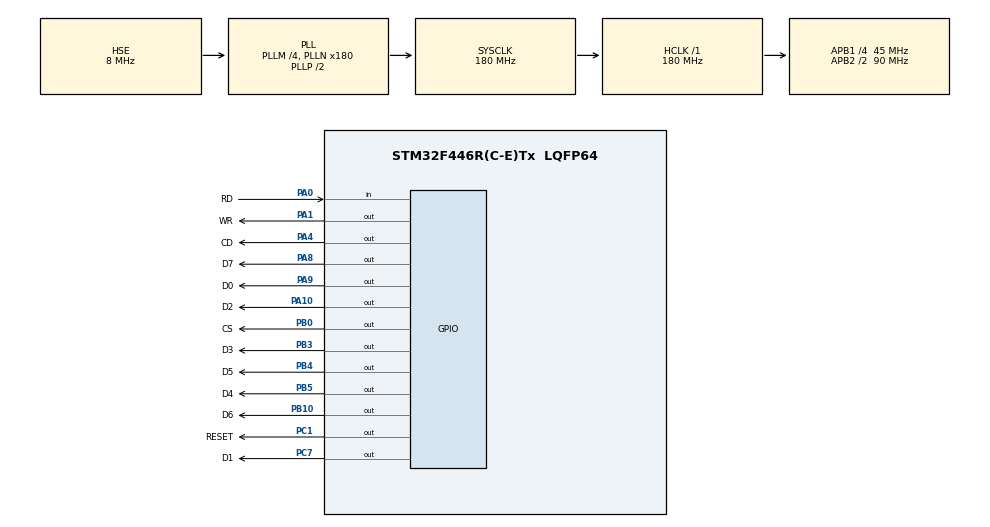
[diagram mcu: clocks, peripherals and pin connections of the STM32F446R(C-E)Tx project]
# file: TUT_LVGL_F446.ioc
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Mcu.Family=STM32F4
Mcu.Name=STM32F446R(C-E)Tx
Mcu.Package=LQFP64
NVIC.PriorityGroup=NVIC_PRIORITYGROUP_4
PA0-WKUP.GPIO_Label=RD
PA0-WKUP.Signal=GPIO_Input
PA1.GPIO_Label=WR
PA1.GPIO_Speed=GPIO_SPEED_FREQ_VERY_HIGH
PA1.Signal=GPIO_Output
PA10.GPIO_Label=D2
PA10.GPIO_Speed=GPIO_SPEED_FREQ_VERY_HIGH
PA10.Signal=GPIO_Output
PA4.GPIO_Label=CD
PA4.GPIO_Speed=GPIO_SPEED_FREQ_VERY_HIGH
PA4.Signal=GPIO_Output
PA8.GPIO_Label=D7
PA8.GPIO_Speed=GPIO_SPEED_FREQ_VERY_HIGH
PA8.Signal=GPIO_Output
PA9.GPIO_Label=D0
PA9.GPIO_Speed=GPIO_SPEED_FREQ_VERY_HIGH
PA9.Signal=GPIO_Output
PB0.GPIO_Label=CS
PB0.GPIO_Speed=GPIO_SPEED_FREQ_VERY_HIGH
PB0.Signal=GPIO_Output
PB10.GPIO_Label=D6
PB10.GPIO_Speed=GPIO_SPEED_FREQ_VERY_HIGH
PB10.Signal=GPIO_Output
PB3.GPIO_Label=D3
PB3.GPIO_Speed=GPIO_SPEED_FREQ_VERY_HIGH
PB3.Signal=GPIO_Output
PB4.GPIO_Label=D5
PB4.GPIO_Speed=GPIO_SPEED_FREQ_VERY_HIGH
PB4.Signal=GPIO_Output
PB5.GPIO_Label=D4
PB5.GPIO_Speed=GPIO_SPEED_FREQ_VERY_HIGH
PB5.Signal=GPIO_Output
PC1.GPIO_Label=RESET
PC1.GPIO_Speed=GPIO_SPEED_FREQ_VERY_HIGH
PC1.Signal=GPIO_Output
PC7.GPIO_Label=D1
PC7.GPIO_Speed=GPIO_SPEED_FREQ_VERY_HIGH
PC7.Signal=GPIO_Output
PH0-OSC_IN.Mode=HSE-External-Clock-Source
PH0-OSC_IN.Signal=RCC_OSC_IN
PH1-OSC_OUT.Mode=HSE-External-Clock-Source
PH1-OSC_OUT.Signal=RCC_OSC_OUT
ProjectManager.HeapSize=0x200
ProjectManager.StackSize=0x400
ProjectManager.TargetToolchain=STM32CubeIDE
RCC.AHBFreq_Value=180000000
RCC.APB1CLKDivider=RCC_HCLK_DIV4
RCC.APB1Freq_Value=45000000
RCC.APB1TimFreq_Value=90000000
RCC.APB2CLKDivider=RCC_HCLK_DIV2
RCC.APB2Freq_Value=90000000
RCC.APB2TimFreq_Value=180000000
RCC.CortexFreq_Value=180000000
RCC.HCLKFreq_Value=180000000
RCC.HSE_VALUE=8000000
RCC.PLLM=4
RCC.PLLN=180
RCC.PLLSourceVirtual=RCC_PLLSOURCE_HSE
RCC.SYSCLKFreq_VALUE=180000000
RCC.SYSCLKSource=RCC_SYSCLKSOURCE_PLLCLK
RCC.USBFreq_Value=180000000
RCC.VCOOutputFreq_Value=360000000
board=custom

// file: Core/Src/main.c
/* USER CODE BEGIN Header */
/**
  ******************************************************************************
  * @file           : main.c
  * @brief          : Main program body
  ******************************************************************************
  * @attention
  *
  * Copyright (c) 2022 STMicroelectronics.
  * All rights reserved.
  *
  * This software is licensed under terms that can be found in the LICENSE file
  * in the root directory of this software component.
  * If no LICENSE file comes with this software, it is provided AS-IS.
  *
  ******************************************************************************
  */
/* USER CODE END Header */
#include "main.h"

/* USER CODE BEGIN Includes */

#include "../../lvgl/lvgl.h"
#include "../../lvgl/examples/lv_examples.h"
#include "lcd_lvgl.h"
#include "stdio.h"

/* USER CODE END Includes */

void SystemClock_Config(void);
static void MX_GPIO_Init(void);

/* USER CODE BEGIN 0 */

int indx = 0;
lv_obj_t * ta;
char text[50];

void lv_textarea_1(void)
{
    ta = lv_textarea_create(lv_scr_act());
    lv_textarea_set_one_line(ta, true);
    lv_obj_align(ta, LV_ALIGN_CENTER, 0, 10);
//    lv_obj_add_state(ta, LV_STATE_FOCUSED); /*To be sure the cursor is visible*/
    lv_textarea_set_text(ta, "Hello world");
}

void update_text (void)
{
	sprintf (text, "value = %d", indx);
	indx++;
	lv_textarea_set_text(ta, text);
}

/* USER CODE END 0 */

int main(void)
{

  /* MCU Configuration--------------------------------------------------------*/

  /* Reset of all peripherals, Initializes the Flash interface and the Systick. */
  HAL_Init();

  /* Configure the system clock */
  SystemClock_Config();

  /* Initialize all configured peripherals */
  MX_GPIO_Init();
  /* USER CODE BEGIN 2 */

  lv_init();

  Display_init(3);
  HAL_Delay (500);

//  lv_example_anim_2();

  lv_textarea_1();

  /* USER CODE END 2 */

  /* Infinite loop */
  while (1)
  {

    /* USER CODE BEGIN 3 */
	  HAL_Delay (100);
	  update_text();
	  lv_task_handler();
  }
  /* USER CODE END 3 */
}

void SystemClock_Config(void)
{
  RCC_OscInitTypeDef RCC_OscInitStruct = {0};
  RCC_ClkInitTypeDef RCC_ClkInitStruct = {0};

  /** Configure the main internal regulator output voltage
  */
  __HAL_RCC_PWR_CLK_ENABLE();
  __HAL_PWR_VOLTAGESCALING_CONFIG(PWR_REGULATOR_VOLTAGE_SCALE1);
  /** Initializes the RCC Oscillators according to the specified parameters
  * in the RCC_OscInitTypeDef structure.
  */
  RCC_OscInitStruct.OscillatorType = RCC_OSCILLATORTYPE_HSE;
  RCC_OscInitStruct.HSEState = RCC_HSE_BYPASS;
  RCC_OscInitStruct.PLL.PLLState = RCC_PLL_ON;
  RCC_OscInitStruct.PLL.PLLSource = RCC_PLLSOURCE_HSE;
  RCC_OscInitStruct.PLL.PLLM = 4;
  RCC_OscInitStruct.PLL.PLLN = 180;
  RCC_OscInitStruct.PLL.PLLP = RCC_PLLP_DIV2;
  RCC_OscInitStruct.PLL.PLLQ = 2;
  RCC_OscInitStruct.PLL.PLLR = 2;
  if (HAL_RCC_OscConfig(&RCC_OscInitStruct) != HAL_OK)
  {
    Error_Handler();
  }
  /** Activate the Over-Drive mode
  */
  if (HAL_PWREx_EnableOverDrive() != HAL_OK)
  {
    Error_Handler();
  }
  /** Initializes the CPU, AHB and APB buses clocks
  */
  RCC_ClkInitStruct.ClockType = RCC_CLOCKTYPE_HCLK|RCC_CLOCKTYPE_SYSCLK
                              |RCC_CLOCKTYPE_PCLK1|RCC_CLOCKTYPE_PCLK2;
  RCC_ClkInitStruct.SYSCLKSource = RCC_SYSCLKSOURCE_PLLCLK;
  RCC_ClkInitStruct.AHBCLKDivider = RCC_SYSCLK_DIV1;
  RCC_ClkInitStruct.APB1CLKDivider = RCC_HCLK_DIV4;
  RCC_ClkInitStruct.APB2CLKDivider = RCC_HCLK_DIV2;

  if (HAL_RCC_ClockConfig(&RCC_ClkInitStruct, FLASH_LATENCY_5) != HAL_OK)
  {
    Error_Handler();
  }
}

static void MX_GPIO_Init(void)
{
  GPIO_InitTypeDef GPIO_InitStruct = {0};

  /* GPIO Ports Clock Enable */
  __HAL_RCC_GPIOH_CLK_ENABLE();
  __HAL_RCC_GPIOC_CLK_ENABLE();
  __HAL_RCC_GPIOA_CLK_ENABLE();
  __HAL_RCC_GPIOB_CLK_ENABLE();

  /*Configure GPIO pin Output Level */
  HAL_GPIO_WritePin(GPIOC, RESET_Pin|D1_Pin, GPIO_PIN_RESET);

  /*Configure GPIO pin Output Level */
  HAL_GPIO_WritePin(GPIOA, WR_Pin|CD_Pin|D7_Pin|D0_Pin
                          |D2_Pin, GPIO_PIN_RESET);

  /*Configure GPIO pin Output Level */
  HAL_GPIO_WritePin(GPIOB, CS_Pin|D6_Pin|D3_Pin|D5_Pin
                          |D4_Pin, GPIO_PIN_RESET);

  /*Configure GPIO pins : RESET_Pin D1_Pin */
  GPIO_InitStruct.Pin = RESET_Pin|D1_Pin;
  GPIO_InitStruct.Mode = GPIO_MODE_OUTPUT_PP;
  GPIO_InitStruct.Pull = GPIO_NOPULL;
  GPIO_InitStruct.Speed = GPIO_SPEED_FREQ_VERY_HIGH;
  HAL_GPIO_Init(GPIOC, &GPIO_InitStruct);

  /*Configure GPIO pin : RD_Pin */
  GPIO_InitStruct.Pin = RD_Pin;
  GPIO_InitStruct.Mode = GPIO_MODE_INPUT;
  GPIO_InitStruct.Pull = GPIO_NOPULL;
  HAL_GPIO_Init(RD_GPIO_Port, &GPIO_InitStruct);

  /*Configure GPIO pins : WR_Pin CD_Pin D7_Pin D0_Pin
                           D2_Pin */
  GPIO_InitStruct.Pin = WR_Pin|CD_Pin|D7_Pin|D0_Pin
                          |D2_Pin;
  GPIO_InitStruct.Mode = GPIO_MODE_OUTPUT_PP;
  GPIO_InitStruct.Pull = GPIO_NOPULL;
  GPIO_InitStruct.Speed = GPIO_SPEED_FREQ_VERY_HIGH;
  HAL_GPIO_Init(GPIOA, &GPIO_InitStruct);

  /*Configure GPIO pins : CS_Pin D6_Pin D3_Pin D5_Pin
                           D4_Pin */
  GPIO_InitStruct.Pin = CS_Pin|D6_Pin|D3_Pin|D5_Pin
                          |D4_Pin;
  GPIO_InitStruct.Mode = GPIO_MODE_OUTPUT_PP;
  GPIO_InitStruct.Pull = GPIO_NOPULL;
  GPIO_InitStruct.Speed = GPIO_SPEED_FREQ_VERY_HIGH;
  HAL_GPIO_Init(GPIOB, &GPIO_InitStruct);

}

void Error_Handler(void)
{
  __disable_irq();
  while (1)
  {
  }
}
